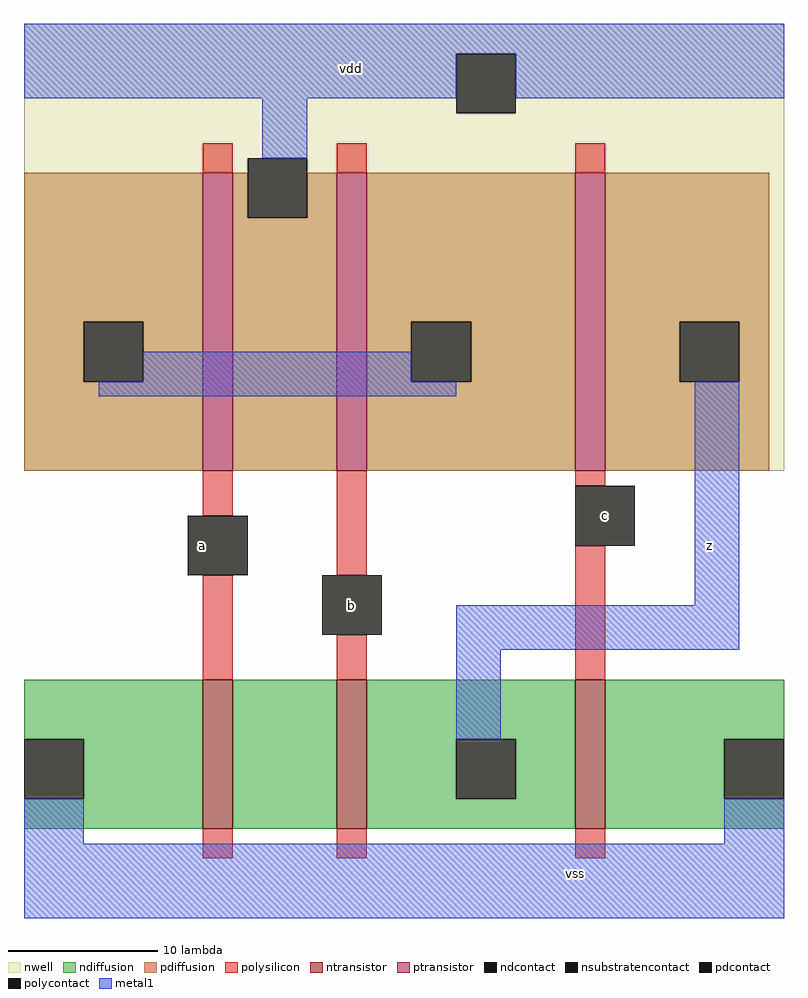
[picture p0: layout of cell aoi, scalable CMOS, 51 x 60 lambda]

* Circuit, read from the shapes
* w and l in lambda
.subckt aoi a b c vdd vss z
M1 n1 a vss VSUBS nfet w=10 l=2
M2 z b n1 VSUBS nfet w=10 l=2
M3 vss c z VSUBS nfet w=10 l=2
M4 vdd a n2 vdd pfet w=20 l=2
M5 n2 b vdd vdd pfet w=20 l=2
M6 z c n2 vdd pfet w=20 l=2
.ends

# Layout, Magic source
magic
tech scmos
<< nwell >>
rect -27 8 24 38
<< polysilicon >>
rect -15 28 -13 30
rect -6 28 -4 30
rect 10 28 12 30
rect -15 5 -13 8
rect -6 1 -4 8
rect 10 7 12 8
rect -15 -6 -13 1
rect -6 -6 -4 -3
rect 10 -6 12 3
rect -15 -18 -13 -16
rect -6 -18 -4 -16
rect 10 -18 12 -16
<< ndiffusion >>
rect -27 -10 -15 -6
rect -23 -14 -15 -10
rect -27 -16 -15 -14
rect -13 -16 -6 -6
rect -4 -10 10 -6
rect -4 -14 2 -10
rect 6 -14 10 -10
rect -4 -16 10 -14
rect 12 -10 24 -6
rect 12 -14 20 -10
rect 12 -16 24 -14
<< pdiffusion >>
rect -27 18 -15 28
rect -27 14 -23 18
rect -19 14 -15 18
rect -27 8 -15 14
rect -13 25 -12 28
rect -8 25 -6 28
rect -13 8 -6 25
rect -4 18 10 28
rect -4 14 -1 18
rect 3 14 10 18
rect -4 8 10 14
rect 12 18 23 28
rect 12 14 17 18
rect 21 14 23 18
rect 12 8 23 14
<< metal1 >>
rect -27 36 24 38
rect -27 33 2 36
rect -11 29 -8 33
rect 6 33 24 36
rect -19 14 -1 16
rect -22 13 2 14
rect 18 -1 21 14
rect 2 -4 21 -1
rect 2 -10 5 -4
rect -27 -17 -23 -14
rect 20 -17 24 -14
rect -27 -22 24 -17
<< ntransistor >>
rect -15 -16 -13 -6
rect -6 -16 -4 -6
rect 10 -16 12 -6
<< ptransistor >>
rect -15 8 -13 28
rect -6 8 -4 28
rect 10 8 12 28
<< polycontact >>
rect -16 1 -12 5
rect 10 3 14 7
rect -7 -3 -3 1
<< ndcontact >>
rect -27 -14 -23 -10
rect 2 -14 6 -10
rect 20 -14 24 -10
<< pdcontact >>
rect -23 14 -19 18
rect -12 25 -8 29
rect -1 14 3 18
rect 17 14 21 18
<< nsubstratencontact >>
rect 2 32 6 36
<< labels >>
rlabel polycontact -5 -1 -5 -1 1 b
rlabel polycontact 12 5 12 5 1 c
rlabel metal1 19 3 19 3 7 z
rlabel metal1 10 -19 10 -19 1 vss
rlabel polycontact -15 3 -15 3 1 a
rlabel metal1 -5 35 -5 35 5 vdd
<< end >>
